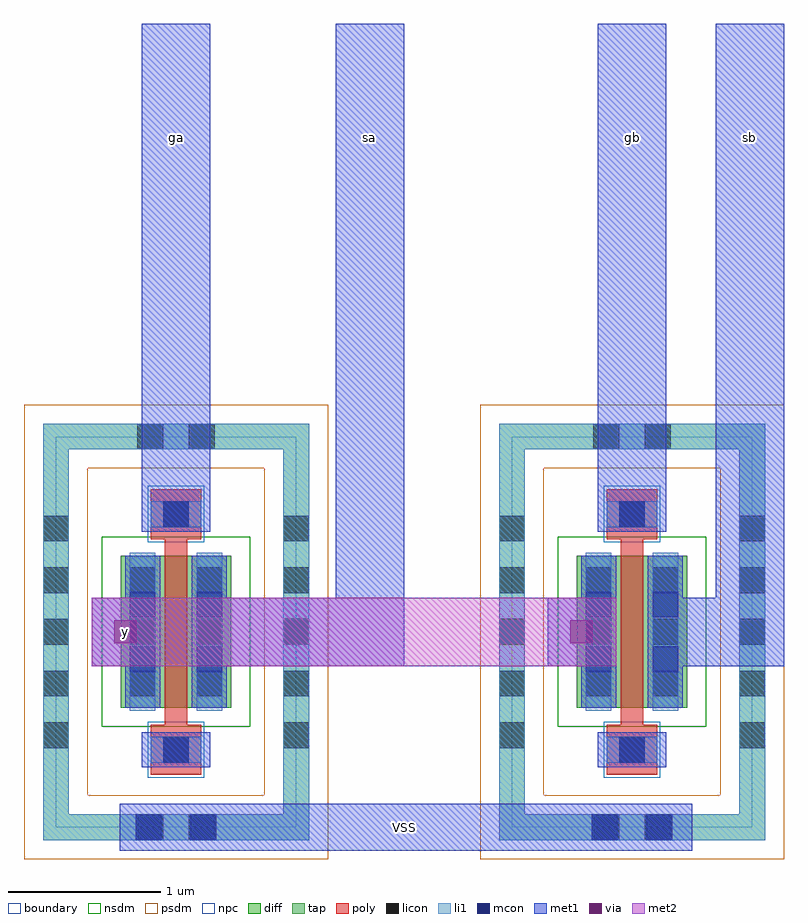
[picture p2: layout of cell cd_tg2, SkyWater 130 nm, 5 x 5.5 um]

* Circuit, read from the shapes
.subckt cd_tg2 VSS ga gb sa sb y
XM1 sa ga y VSS sky130_fd_pr__nfet_01v8 w=1 l=0.15
XM2 sb gb y VSS sky130_fd_pr__nfet_01v8 w=1 l=0.15
.ends

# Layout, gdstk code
import gdstk
lib = gdstk.Library(unit=1e-6, precision=1e-09)
def R(c, l, rs):  # rectangles x0, y0, x1, y1
    for r in rs: c.add(gdstk.rectangle(r[:2], r[2:], *l))
def A(c, l, x, y, w, h, nx, ny, dx, dy):  # array of equal rectangles
    R(c, l, [(x+i*dx, y+j*dy, x+i*dx+w, y+j*dy+h) for i in range(nx) for j in range(ny)])
diff = (65, 20)
tap = (65, 44)
poly = (66, 20)
licon = (66, 44)
li1 = (67, 20)
mcon = (67, 44)
met1 = (68, 20)
via = (68, 44)
met2 = (69, 20)
nsdm = (93, 44)
psdm = (94, 20)
npc = (95, 20)
boundary = (235, 4)

cd_n1_l015 = lib.new_cell('cd_n1_l015')
R(cd_n1_l015, diff, [(-0.365,-0.5,0.365,0.5)])
R(cd_n1_l015, tap, [(-0.875,-1.37,0.875,-1.2), (-0.875,-1.2,-0.705,1.2), (0.705,-1.2,0.875,1.2), (-0.875,1.2,0.875,1.37)])
R(cd_n1_l015, poly, [(-0.165,-0.94,0.165,-0.61), (-0.075,-0.61,0.075,0.61), (-0.165,0.61,0.165,0.94)])
A(cd_n1_l015, licon, -0.875, -0.765, 0.17, 0.17, 1, 5, 0, 0.34)
A(cd_n1_l015, licon, 0.705, -0.765, 0.17, 0.17, 1, 5, 0, 0.34)
A(cd_n1_l015, licon, -0.305, -0.425, 0.17, 0.17, 1, 3, 0, 0.34)
A(cd_n1_l015, licon, 0.135, -0.425, 0.17, 0.17, 1, 3, 0, 0.34)
R(cd_n1_l015, licon, [(-0.255,-1.37,-0.085,-1.2), (0.085,-1.37,0.255,-1.2), (-0.085,-0.86,0.085,-0.69), (-0.085,0.69,0.085,0.86), (-0.255,1.2,-0.085,1.37), (0.085,1.2,0.255,1.37)])
R(cd_n1_l015, li1, [(-0.875,-1.37,0.875,-1.2), (-0.875,-1.2,-0.705,1.2), (0.705,-1.2,0.875,1.2), (-0.165,-0.86,0.165,-0.69), (-0.305,-0.52,-0.135,0.52), (0.135,-0.52,0.305,0.52), (-0.165,0.69,0.165,0.86), (-0.875,1.2,0.875,1.37)])
R(cd_n1_l015, mcon, [(-0.085,-0.86,0.085,-0.69), (-0.305,-0.265,-0.135,-0.095), (0.135,-0.265,0.305,-0.095), (-0.305,0.095,-0.135,0.265), (0.135,0.095,0.305,0.265), (-0.085,0.69,0.085,0.86)])
R(cd_n1_l015, met1, [(-0.145,-0.89,0.145,-0.66), (-0.335,-0.5,-0.105,0.5), (0.105,-0.5,0.335,0.5), (-0.145,0.66,0.145,0.89)])
R(cd_n1_l015, nsdm, [(-0.49,-0.625,0.49,0.625)])
R(cd_n1_l015, psdm, [(-1,-1.495,1,-1.075), (-1,-1.075,-0.58,1.075), (0.58,-1.075,1,1.075), (-1,1.075,1,1.495)])
R(cd_n1_l015, npc, [(-0.185,-0.96,0.185,-0.59), (-0.185,0.59,0.185,0.96)])
R(cd_n1_l015, boundary, [(-0.79,-1.285,0.79,1.285)])
cd_n1_l015.add(gdstk.Label('B', (0,-1.285), layer=67, texttype=5))
cd_n1_l015.add(gdstk.Label('D', (-0.22,0), layer=67, texttype=5))
cd_n1_l015.add(gdstk.Label('S', (0.22,0), layer=67, texttype=5))
cd_n1_l015.add(gdstk.Label('G', (0,0.775), layer=67, texttype=5))

cd_tg2 = lib.new_cell('cd_tg2')
R(cd_tg2, li1, [(-0.3,3.13,0.3,3.3), (2.7,3.13,3.3,3.3)])
R(cd_tg2, mcon, [(-0.265,3.13,-0.095,3.3), (0.095,3.13,0.265,3.3), (2.735,3.13,2.905,3.3), (3.095,3.13,3.265,3.3)])
R(cd_tg2, met1, [(-0.37,3.06,3.395,3.37), (-0.225,3.61,0.225,3.84), (2.775,3.61,3.225,3.84), (-0.555,4.275,-0.105,4.725), (0.105,4.275,1.5,4.725), (2.445,4.275,2.895,4.725), (3.105,4.275,4,4.725), (1.05,4.725,1.5,8.5), (3.55,4.725,4,8.5), (-0.225,5.16,0.225,8.5), (2.775,5.16,3.225,8.5)])
R(cd_tg2, via, [(-0.405,4.425,-0.255,4.575), (2.595,4.425,2.745,4.575)])
R(cd_tg2, met2, [(-0.555,4.275,2.895,4.725)])
cd_tg2.add(gdstk.Reference(cd_n1_l015, (0,4.5)))
cd_tg2.add(gdstk.Reference(cd_n1_l015, (3,4.5)))
cd_tg2.add(gdstk.Label('ga', (0,7.75), layer=68, texttype=5))
cd_tg2.add(gdstk.Label('gb', (3,7.75), layer=68, texttype=5))
cd_tg2.add(gdstk.Label('y', (-0.33,4.5), layer=69, texttype=5))
cd_tg2.add(gdstk.Label('sa', (1.275,7.75), layer=68, texttype=5))
cd_tg2.add(gdstk.Label('sb', (3.775,7.75), layer=68, texttype=5))
cd_tg2.add(gdstk.Label('VSS', (1.5,3.215), layer=68, texttype=5))

lib.write_gds('cd_tg2.gds')
